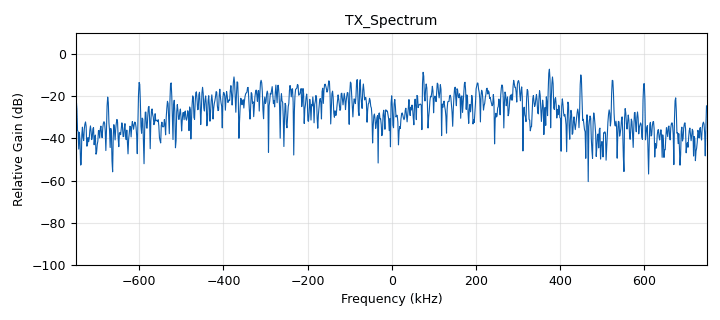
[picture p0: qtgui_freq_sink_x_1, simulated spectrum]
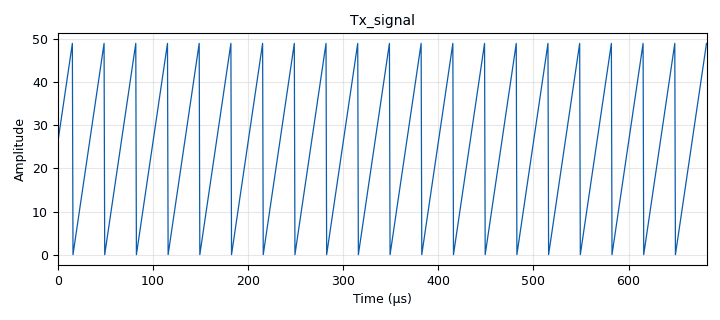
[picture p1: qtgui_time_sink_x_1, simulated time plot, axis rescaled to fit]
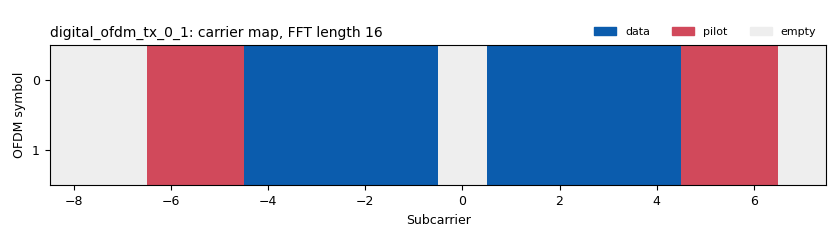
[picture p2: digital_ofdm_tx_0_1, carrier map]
options:
  parameters:
    author: User
    generate_options: qt_gui
    id: exp4_4
    output_language: python
    title: Not titled yet
  states: {}

blocks:
- name: fft_len
  id: variable
  parameters:
    value: '16'
  states: {}
- name: freq_offset
  id: variable_qtgui_range
  parameters:
    label: Frequency Offset (Multiples of Sub-carrier spacing)
    outputmsgname: value
    showports: 'False'
    start: '-3'
    step: '.01'
    stop: '3'
    value: '0'
  states: {state: disabled}
- name: len_tag_key
  id: variable
  parameters:
    value: '"packet_len"'
  states: {}
- name: noise_voltage
  id: variable_qtgui_range
  parameters:
    label: Noise Amplitude
    outputmsgname: value
    showports: 'False'
    start: '0'
    step: '.01'
    stop: '1'
    value: '0.1'
  states: {state: disabled}
- name: packet_len
  id: variable
  parameters:
    value: '10'
  states: {}
- name: samp_rate
  id: variable
  parameters:
    value: '1500000'
  states: {}
- name: analog_sig_source_x_0
  id: analog_sig_source_x
  parameters:
    amp: '1'
    freq: '1000'
    offset: '0'
    phase: '0'
    samp_rate: samp_rate
    type: byte
    waveform: analog.GR_TRI_WAVE
  states: {state: disabled}
- name: blocks_file_sink_0
  id: blocks_file_sink
  parameters:
    file: C:\Users\User\Documents\gnu\tx_data
    type: byte
  states: {state: disabled}
- name: blocks_file_source_0
  id: blocks_file_source
  parameters:
    file: C:\Users\User\Documents\gnu\rx_image.png
    repeat: 'True'
    type: byte
  states: {state: disabled}
- name: blocks_file_source_1
  id: blocks_file_source
  parameters:
    file: C:\Users\User\Documents\blobs.png
    repeat: 'True'
    type: byte
  states: {state: disabled}
- name: blocks_multiply_const_vxx_0
  id: blocks_multiply_const_vxx
  parameters:
    const: 1/20
    type: complex
  states: {}
- name: blocks_stream_to_tagged_stream_0
  id: blocks_stream_to_tagged_stream
  parameters:
    len_tag_key: len_tag_key
    packet_len: packet_len
    type: byte
  states: {}
- name: blocks_throttle_1
  id: blocks_throttle
  parameters:
    samples_per_second: samp_rate
    type: byte
  states: {}
- name: blocks_uchar_to_float_0_1
  id: blocks_uchar_to_float
  parameters: {}
  states: {}
- name: blocks_vector_source_x_0
  id: blocks_vector_source_x
  parameters:
    repeat: 'True'
    type: byte
    vector: range(50)
  states: {}
- name: digital_ofdm_tx_0
  id: digital_ofdm_tx
  parameters:
    cp_len: fft_len//4
    fft_len: '8'
    header_mod: '"BPSK"'
    occupied_carriers: ((-3,-1,1,3),)
    packet_len_key: len_tag_key
    payload_mod: '"QPSK"'
    pilot_carriers: ((-2,2),)
    pilot_symbols: ((1,-1),)
    rolloff: '0'
    sync_word1: None
    sync_word2: None
  states: {state: disabled}
- name: digital_ofdm_tx_0_0
  id: digital_ofdm_tx
  parameters:
    cp_len: fft_len//4
    fft_len: '32'
    header_mod: '"BPSK"'
    occupied_carriers: ((-13,-11,-9,-7,-5,-3,-2,-1,1,2,3,5,7,9,11,13),)
    packet_len_key: len_tag_key
    payload_mod: '"QPSK"'
    pilot_carriers: ((-14,-10,10,14),)
    pilot_symbols: ((1,-1,1,-1),)
    rolloff: '0'
    sync_word1: None
    sync_word2: None
  states: {state: disabled}
- name: digital_ofdm_tx_0_1
  id: digital_ofdm_tx
  parameters:
    cp_len: fft_len//4
    fft_len: '16'
    header_mod: '"BPSK"'
    occupied_carriers: ((-4,-3,-2,-1,1,2,3,4),)
    packet_len_key: len_tag_key
    payload_mod: '"QPSK"'
    pilot_carriers: ((-6,-5,5,6),)
    pilot_symbols: ((1,-1,1,-1),)
    rolloff: '0'
    sync_word1: None
    sync_word2: None
  states: {}
- name: digital_ofdm_tx_0_2
  id: digital_ofdm_tx
  parameters:
    cp_len: fft_len//4
    fft_len: '64'
    header_mod: '"BPSK"'
    occupied_carriers: ((-31,-29,-28,-27,-25,-23,-21,-20,-19,-17,-16,-15,-13,-12,-11,-9,-7,-6,-5,-3,-1,1,3,5,6,7,9,11,12,13,15,16,17,19,20,21,23,25,27,28,29,31),)
    packet_len_key: len_tag_key
    payload_mod: '"QPSK"'
    pilot_carriers: ((-30,-22,22,30),)
    pilot_symbols: ((1,-1,1,-1),)
    rolloff: '0'
    sync_word1: None
    sync_word2: None
  states: {state: disabled}
- name: fec_ber_bf_0
  id: fec_ber_bf
  parameters:
    berlimit: '-20.0'
    test_mode: 'False'
  states: {state: disabled}
- name: osmosdr_sink_0
  id: osmosdr_sink
  parameters:
    args: hackrf=0,buffer=128,bufflen=32768
    bb_gain0: '200'
    bw0: 1e6
    freq0: 700e6
    gain0: '100'
    if_gain0: '200'
    sample_rate: samp_rate
    sync: pc_clock
    type: fc32
  states: {}
- name: qtgui_freq_sink_x_1
  id: qtgui_freq_sink_x
  parameters:
    bw: samp_rate
    fc: '0'
    fftsize: '1024'
    name: '"TX_Spectrum"'
    type: complex
    ymin: '-100'
  states: {}
- name: qtgui_number_sink_0
  id: qtgui_number_sink
  parameters:
    graph_type: qtgui.NUM_GRAPH_HORIZ
    max: '10'
    min: '-10'
    type: float
  states: {state: disabled}
- name: qtgui_time_sink_x_1
  id: qtgui_time_sink_x
  parameters:
    name: '"Tx_signal"'
    size: '1024'
    srate: samp_rate
    type: float
  states: {}
- name: virtual_sink_4
  id: virtual_sink
  parameters:
    stream_id: tx_float_signal
  states: {}

connections:
- [analog_sig_source_x_0, '0', blocks_file_sink_0, '0']
- [analog_sig_source_x_0, '0', blocks_stream_to_tagged_stream_0, '0']
- [blocks_file_source_0, '0', fec_ber_bf_0, '1']
- [blocks_file_source_1, '0', fec_ber_bf_0, '0']
- [blocks_multiply_const_vxx_0, '0', osmosdr_sink_0, '0']
- [blocks_stream_to_tagged_stream_0, '0', blocks_throttle_1, '0']
- [blocks_throttle_1, '0', digital_ofdm_tx_0, '0']
- [blocks_throttle_1, '0', digital_ofdm_tx_0_0, '0']
- [blocks_throttle_1, '0', digital_ofdm_tx_0_1, '0']
- [blocks_throttle_1, '0', digital_ofdm_tx_0_2, '0']
- [blocks_uchar_to_float_0_1, '0', qtgui_time_sink_x_1, '0']
- [blocks_uchar_to_float_0_1, '0', virtual_sink_4, '0']
- [blocks_vector_source_x_0, '0', blocks_file_sink_0, '0']
- [blocks_vector_source_x_0, '0', blocks_stream_to_tagged_stream_0, '0']
- [blocks_vector_source_x_0, '0', blocks_uchar_to_float_0_1, '0']
- [digital_ofdm_tx_0, '0', blocks_multiply_const_vxx_0, '0']
- [digital_ofdm_tx_0, '0', qtgui_freq_sink_x_1, '0']
- [digital_ofdm_tx_0_0, '0', blocks_multiply_const_vxx_0, '0']
- [digital_ofdm_tx_0_0, '0', qtgui_freq_sink_x_1, '0']
- [digital_ofdm_tx_0_1, '0', blocks_multiply_const_vxx_0, '0']
- [digital_ofdm_tx_0_1, '0', qtgui_freq_sink_x_1, '0']
- [digital_ofdm_tx_0_2, '0', blocks_multiply_const_vxx_0, '0']
- [fec_ber_bf_0, '0', qtgui_number_sink_0, '0']

metadata:
  file_format: 1
  grc_version: 3.10.4.0
